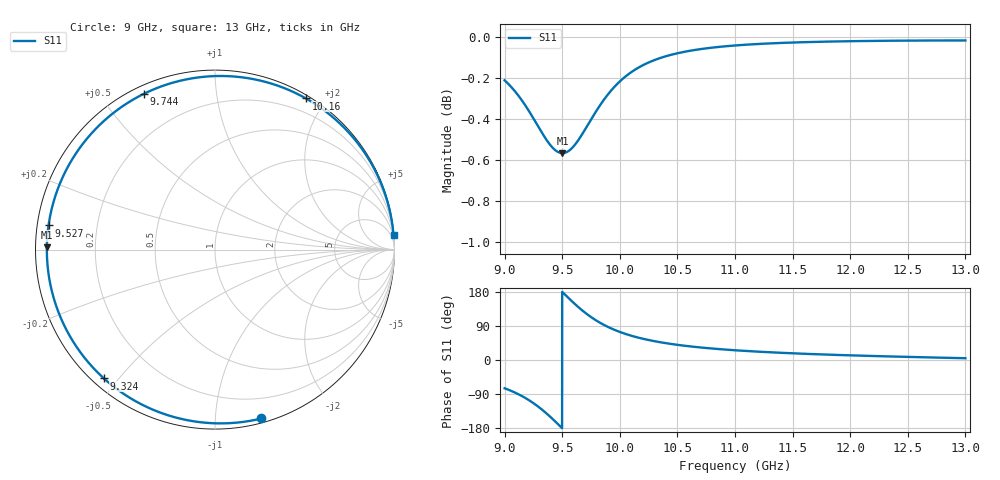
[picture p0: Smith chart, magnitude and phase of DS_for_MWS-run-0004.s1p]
! TOUCHSTONE file generated by CST DESIGN STUDIO
! Date and time: Tue Feb  4 18:06:00 2025
! Project name: C:\Work\MatlabApps\UnitCellOptimizationMatlab\CST\unitcell.cst
! Tree item: Tasks\Sweep1\SPara1\S-Parameters
! Header version: 2024
! Port assignment regex: !\s*Touchstone port\s*([0-9]+)\s*=\s*(CST MWS port|CST DES external port|CST DES block port)\s*(.+)\s* \(\"(.*)\"\)(\s*mode\s*([0-9]+))?.*
! Touchstone port assignment:
! Touchstone port 1 = CST DES external port 1 ("")
# GHz S MA R 50
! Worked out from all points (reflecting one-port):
!   4001 points, 9 GHz to 13 GHz, reference 50 ohm
!   lowest |S11| = -0.6 dB at 9.502 GHz (marker M1), VSWR 30.72, Z = 1.63 + j0.345 ohm
!   phase of S11 starts at -75 deg and turns -281 deg over the sweep
!   S11 on the Smith chart (normalised r, x): 9 GHz: 0.03, -1.31; 9.324 GHz: 0.03, -0.46; 9.527 GHz: 0.03, +0.07; 9.744 GHz: 0.03, +0.64; 10.16 GHz: 0.04, +1.77; 13 GHz: 1, +24
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9  0.9759 -74.6
9.085  0.9703 -85.3
9.187  0.9616 -101.5
9.258  0.9545 -115.5
9.324  0.9477 -130.8
9.371  0.9433 -142.9
9.42  0.9396 -156.6
9.461  0.9376 -168.6
9.5  0.9369 179.8
9.502  0.9369 179.2
9.527  0.9372 171.7
9.58  0.9393 156.2
9.64  0.9438 139.6
9.691  0.9487 126.7
9.744  0.9541 114.6
9.796  0.9593 104.1
9.854  0.9647 93.9
9.926  0.9704 83.2
10  0.9753 74.1
10.161  0.9829 59.0
10.315  0.9874 48.8
10.5  0.9908 40.0
10.722  0.9933 32.4
11  0.9951 25.7
11.5  0.9968 17.7
12  0.9975 12.3
12.5  0.9979 8.2
13  0.9979 4.7
